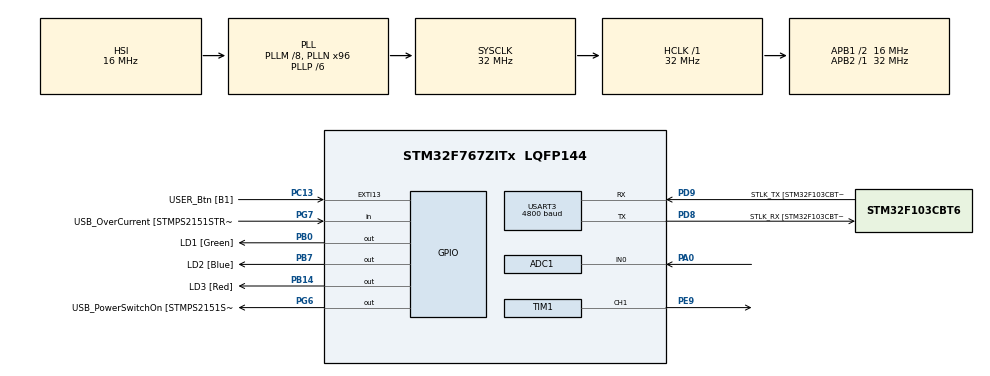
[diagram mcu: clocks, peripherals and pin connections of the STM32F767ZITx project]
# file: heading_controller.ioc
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ADC1.Channel-1\#ChannelRegularConversion=ADC_CHANNEL_0
ADC1.NbrOfConversionFlag=1
ADC1.Rank-1\#ChannelRegularConversion=1
ADC1.SamplingTime-1\#ChannelRegularConversion=ADC_SAMPLETIME_3CYCLES
ADC1.master=1
Mcu.Family=STM32F7
Mcu.Name=STM32F767ZITx
Mcu.Package=LQFP144
NVIC.PriorityGroup=NVIC_PRIORITYGROUP_4
PA0/WKUP.Signal=ADCx_IN0
PA1.GPIO_Label=RMII_REF_CLK [LAN8742A-CZ-TR_REFCLK0]
PA1.Signal=ETH_REF_CLK
PA10.GPIO_Label=USB_ID
PA10.Signal=USB_OTG_FS_ID
PA11.GPIO_Label=USB_DM
PA11.Signal=USB_OTG_FS_DM
PA12.GPIO_Label=USB_DP
PA12.Signal=USB_OTG_FS_DP
PA13.GPIO_Label=TMS
PA13.Signal=SYS_JTMS-SWDIO
PA14.GPIO_Label=TCK
PA14.Signal=SYS_JTCK-SWCLK
PA2.GPIO_Label=RMII_MDIO [LAN8742A-CZ-TR_MDIO]
PA2.Signal=ETH_MDIO
PA7.GPIO_Label=RMII_CRS_DV [LAN8742A-CZ-TR_CRS_DV]
PA7.Signal=ETH_CRS_DV
PA8.GPIO_Label=USB_SOF [TP1]
PA8.Signal=USB_OTG_FS_SOF
PA9.GPIO_Label=USB_VBUS
PA9.Signal=USB_OTG_FS_VBUS
PB0.GPIO_Label=LD1 [Green]
PB0.Signal=GPIO_Output
PB13.GPIO_Label=RMII_TXD1 [LAN8742A-CZ-TR_TXD1]
PB13.Signal=ETH_TXD1
PB14.GPIO_Label=LD3 [Red]
PB14.Signal=GPIO_Output
PB3.GPIO_Label=SW0
PB3.Signal=SYS_JTDO-SWO
PB7.GPIO_Label=LD2 [Blue]
PB7.Signal=GPIO_Output
PC1.GPIO_Label=RMII_MDC [LAN8742A-CZ-TR_MDC]
PC1.Signal=ETH_MDC
PC13.GPIO_Label=USER_Btn [B1]
PC13.Signal=GPXTI13
PC14/OSC32_IN.Signal=RCC_OSC32_IN
PC15/OSC32_OUT.Signal=RCC_OSC32_OUT
PC4.GPIO_Label=RMII_RXD0 [LAN8742A-CZ-TR_RXD0]
PC4.Signal=ETH_RXD0
PC5.GPIO_Label=RMII_RXD1 [LAN8742A-CZ-TR_RXD1]
PC5.Signal=ETH_RXD1
PD8.GPIO_Label=STLK_RX [STM32F103CBT6_PA3]
PD8.Mode=Asynchronous
PD8.Signal=USART3_TX
PD9.GPIO_Label=STLK_TX [STM32F103CBT6_PA2]
PD9.Mode=Asynchronous
PD9.Signal=USART3_RX
PE9.Signal=S_TIM1_CH1
PG11.GPIO_Label=RMII_TX_EN [LAN8742A-CZ-TR_TXEN]
PG11.Signal=ETH_TX_EN
PG13.GPIO_Label=RMII_TXD0 [LAN8742A-CZ-TR_TXD0]
PG13.Signal=ETH_TXD0
PG6.GPIO_Label=USB_PowerSwitchOn [STMPS2151STR_EN]
PG6.Signal=GPIO_Output
PG7.GPIO_Label=USB_OverCurrent [STMPS2151STR_FAULT]
PG7.Signal=GPIO_Input
PH0/OSC_IN.GPIO_Label=MCO [STM32F103CBT6_PA8]
PH0/OSC_IN.Mode=HSE-External-Oscillator
PH0/OSC_IN.Signal=RCC_OSC_IN
PH1/OSC_OUT.Mode=HSE-External-Oscillator
PH1/OSC_OUT.Signal=RCC_OSC_OUT
ProjectManager.HeapSize=0x200
ProjectManager.StackSize=0x400
ProjectManager.TargetToolchain=STM32CubeIDE
RCC.48MHZClocksFreq_Value=24000000
RCC.AHBFreq_Value=32000000
RCC.APB1CLKDivider=RCC_HCLK_DIV2
RCC.APB1Freq_Value=16000000
RCC.APB1TimFreq_Value=32000000
RCC.APB2Freq_Value=32000000
RCC.APB2TimFreq_Value=32000000
RCC.CortexFreq_Value=32000000
RCC.HCLKFreq_Value=32000000
RCC.HSE_VALUE=16000000
RCC.HSI_VALUE=16000000
RCC.LSE_VALUE=32768
RCC.PLLM=8
RCC.PLLMUL=RCC_PLL_MUL9
RCC.PLLN=96
RCC.PLLP=RCC_PLLP_DIV6
RCC.PRESCALERUSB=RCC_USBCLKSOURCE_PLL_DIV1_5
RCC.RCC_MCO2Source=RCC_MCO2SOURCE_PLLCLK
RCC.RCC_MCODiv2=RCC_MCODIV_2
RCC.SYSCLKFreq_VALUE=32000000
RCC.SYSCLKSource=RCC_SYSCLKSOURCE_PLLCLK
RCC.SYSCLKSourceVirtual=RCC_SYSCLKSOURCE_PLLCLK
RCC.USBFreq_Value=96000000
RCC.VCOOutputFreq_Value=192000000
SH.ADCx_IN0.0=ADC1_IN0,IN0
SH.S_TIM1_CH1.0=TIM1_CH1,PWM Generation1 CH1
TIM1.Channel-PWM\ Generation1\ CH1=TIM_CHANNEL_1
TIM1.Period=10000-1
TIM1.Prescaler=64-1
USART3.BaudRate=4800
USART3.VirtualMode-Asynchronous=VM_ASYNC
VP_TIM1_VS_ClockSourceINT.Mode=Internal
board=NUCLEO-F767ZI

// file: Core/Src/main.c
/* USER CODE BEGIN Header */
/**
  ******************************************************************************
  * @file           : main.c
  * @brief          : Main program body
  ******************************************************************************
  * @attention
  *
  * Copyright (c) 2025 STMicroelectronics.
  * All rights reserved.
  *
  * This software is licensed under terms that can be found in the LICENSE file
  * in the root directory of this software component.
  * If no LICENSE file comes with this software, it is provided AS-IS.
  *
  ******************************************************************************
  */
/* USER CODE END Header */
#include "main.h"

/* USER CODE BEGIN Includes */
#include <stdio.h>

/* USER CODE END Includes */

ADC_HandleTypeDef hadc1;
TIM_HandleTypeDef htim1;
UART_HandleTypeDef huart3;

/* USER CODE BEGIN PV */
uint32_t adc_value;
float dcv, duty = 0.0f;
uint8_t msg[50] = {'\0'};

/* USER CODE END PV */

void SystemClock_Config(void);
static void MX_GPIO_Init(void);
static void MX_ADC1_Init(void);
static void MX_USART3_UART_Init(void);
static void MX_TIM1_Init(void);
/* USER CODE BEGIN PFP */
float Map_ADC_DCV(uint32_t adc_value);
float Map_ADC_Duty(uint32_t adc_value, uint32_t period);

/* USER CODE END PFP */

int main(void)
{

  /* MCU Configuration--------------------------------------------------------*/

  /* Reset of all peripherals, Initializes the Flash interface and the Systick. */
  HAL_Init();

  /* Configure the system clock */
  SystemClock_Config();

  /* Initialize all configured peripherals */
  MX_GPIO_Init();
  MX_ADC1_Init();
  MX_USART3_UART_Init();
  MX_TIM1_Init();
  /* USER CODE BEGIN 2 */
  HAL_TIM_PWM_Start(&htim1, TIM_CHANNEL_1);
  TIM1->CCR1 = 0;
  /* USER CODE END 2 */

  /* Infinite loop */
  while (1)
  {

    /* USER CODE BEGIN 3 */
	  // ADC with polling
	  HAL_ADC_Start(&hadc1);
	  HAL_ADC_PollForConversion(&hadc1, 10);
	  adc_value = HAL_ADC_GetValue(&hadc1);
	  HAL_ADC_Stop(&hadc1);

	  // Converting ADC value to duty cycle to control motor heading
	  TIM1->CCR1 = Map_ADC_Duty(adc_value, htim1.Init.Period);
	  duty = ((float)TIM1->CCR1 / (float)htim1.Init.Period) * 100.0f;

	  // UART to Serial Print
	  dcv = Map_ADC_DCV(adc_value);
	  sprintf((char*)msg, "Raw: %d, V: %f, duty: %f \r\n", (int)adc_value, dcv, duty);
	  HAL_UART_Transmit(&huart3, msg, sizeof(msg), 100);
	  HAL_Delay(500);
  }
  /* USER CODE END 3 */
}

void SystemClock_Config(void)
{
  RCC_OscInitTypeDef RCC_OscInitStruct = {0};
  RCC_ClkInitTypeDef RCC_ClkInitStruct = {0};

  /** Configure the main internal regulator output voltage
  */
  __HAL_RCC_PWR_CLK_ENABLE();
  __HAL_PWR_VOLTAGESCALING_CONFIG(PWR_REGULATOR_VOLTAGE_SCALE3);

  /** Initializes the RCC Oscillators according to the specified parameters
  * in the RCC_OscInitTypeDef structure.
  */
  RCC_OscInitStruct.OscillatorType = RCC_OSCILLATORTYPE_HSI;
  RCC_OscInitStruct.HSIState = RCC_HSI_ON;
  RCC_OscInitStruct.HSICalibrationValue = RCC_HSICALIBRATION_DEFAULT;
  RCC_OscInitStruct.PLL.PLLState = RCC_PLL_ON;
  RCC_OscInitStruct.PLL.PLLSource = RCC_PLLSOURCE_HSI;
  RCC_OscInitStruct.PLL.PLLM = 8;
  RCC_OscInitStruct.PLL.PLLN = 96;
  RCC_OscInitStruct.PLL.PLLP = RCC_PLLP_DIV6;
  RCC_OscInitStruct.PLL.PLLQ = 2;
  RCC_OscInitStruct.PLL.PLLR = 2;
  if (HAL_RCC_OscConfig(&RCC_OscInitStruct) != HAL_OK)
  {
    Error_Handler();
  }

  /** Initializes the CPU, AHB and APB buses clocks
  */
  RCC_ClkInitStruct.ClockType = RCC_CLOCKTYPE_HCLK|RCC_CLOCKTYPE_SYSCLK
                              |RCC_CLOCKTYPE_PCLK1|RCC_CLOCKTYPE_PCLK2;
  RCC_ClkInitStruct.SYSCLKSource = RCC_SYSCLKSOURCE_PLLCLK;
  RCC_ClkInitStruct.AHBCLKDivider = RCC_SYSCLK_DIV1;
  RCC_ClkInitStruct.APB1CLKDivider = RCC_HCLK_DIV2;
  RCC_ClkInitStruct.APB2CLKDivider = RCC_HCLK_DIV1;

  if (HAL_RCC_ClockConfig(&RCC_ClkInitStruct, FLASH_LATENCY_1) != HAL_OK)
  {
    Error_Handler();
  }
}

static void MX_ADC1_Init(void)
{

  ADC_ChannelConfTypeDef sConfig = {0};

  /** Configure the global features of the ADC (Clock, Resolution, Data Alignment and number of conversion)
  */
  hadc1.Instance = ADC1;
  hadc1.Init.ClockPrescaler = ADC_CLOCK_SYNC_PCLK_DIV2;
  hadc1.Init.Resolution = ADC_RESOLUTION_12B;
  hadc1.Init.ScanConvMode = ADC_SCAN_DISABLE;
  hadc1.Init.ContinuousConvMode = DISABLE;
  hadc1.Init.DiscontinuousConvMode = DISABLE;
  hadc1.Init.ExternalTrigConvEdge = ADC_EXTERNALTRIGCONVEDGE_NONE;
  hadc1.Init.ExternalTrigConv = ADC_SOFTWARE_START;
  hadc1.Init.DataAlign = ADC_DATAALIGN_RIGHT;
  hadc1.Init.NbrOfConversion = 1;
  hadc1.Init.DMAContinuousRequests = DISABLE;
  hadc1.Init.EOCSelection = ADC_EOC_SINGLE_CONV;
  if (HAL_ADC_Init(&hadc1) != HAL_OK)
  {
    Error_Handler();
  }

  /** Configure for the selected ADC regular channel its corresponding rank in the sequencer and its sample time.
  */
  sConfig.Channel = ADC_CHANNEL_0;
  sConfig.Rank = ADC_REGULAR_RANK_1;
  sConfig.SamplingTime = ADC_SAMPLETIME_3CYCLES;
  if (HAL_ADC_ConfigChannel(&hadc1, &sConfig) != HAL_OK)
  {
    Error_Handler();
  }

}

static void MX_TIM1_Init(void)
{

  TIM_ClockConfigTypeDef sClockSourceConfig = {0};
  TIM_MasterConfigTypeDef sMasterConfig = {0};
  TIM_OC_InitTypeDef sConfigOC = {0};
  TIM_BreakDeadTimeConfigTypeDef sBreakDeadTimeConfig = {0};

  htim1.Instance = TIM1;
  htim1.Init.Prescaler = 64-1;
  htim1.Init.CounterMode = TIM_COUNTERMODE_UP;
  htim1.Init.Period = 10000-1;
  htim1.Init.ClockDivision = TIM_CLOCKDIVISION_DIV1;
  htim1.Init.RepetitionCounter = 0;
  htim1.Init.AutoReloadPreload = TIM_AUTORELOAD_PRELOAD_DISABLE;
  if (HAL_TIM_Base_Init(&htim1) != HAL_OK)
  {
    Error_Handler();
  }
  sClockSourceConfig.ClockSource = TIM_CLOCKSOURCE_INTERNAL;
  if (HAL_TIM_ConfigClockSource(&htim1, &sClockSourceConfig) != HAL_OK)
  {
    Error_Handler();
  }
  if (HAL_TIM_PWM_Init(&htim1) != HAL_OK)
  {
    Error_Handler();
  }
  sMasterConfig.MasterOutputTrigger = TIM_TRGO_RESET;
  sMasterConfig.MasterOutputTrigger2 = TIM_TRGO2_RESET;
  sMasterConfig.MasterSlaveMode = TIM_MASTERSLAVEMODE_DISABLE;
  if (HAL_TIMEx_MasterConfigSynchronization(&htim1, &sMasterConfig) != HAL_OK)
  {
    Error_Handler();
  }
  sConfigOC.OCMode = TIM_OCMODE_PWM1;
  sConfigOC.Pulse = 0;
  sConfigOC.OCPolarity = TIM_OCPOLARITY_HIGH;
  sConfigOC.OCNPolarity = TIM_OCNPOLARITY_HIGH;
  sConfigOC.OCFastMode = TIM_OCFAST_DISABLE;
  sConfigOC.OCIdleState = TIM_OCIDLESTATE_RESET;
  sConfigOC.OCNIdleState = TIM_OCNIDLESTATE_RESET;
  if (HAL_TIM_PWM_ConfigChannel(&htim1, &sConfigOC, TIM_CHANNEL_1) != HAL_OK)
  {
    Error_Handler();
  }
  sBreakDeadTimeConfig.OffStateRunMode = TIM_OSSR_DISABLE;
  sBreakDeadTimeConfig.OffStateIDLEMode = TIM_OSSI_DISABLE;
  sBreakDeadTimeConfig.LockLevel = TIM_LOCKLEVEL_OFF;
  sBreakDeadTimeConfig.DeadTime = 0;
  sBreakDeadTimeConfig.BreakState = TIM_BREAK_DISABLE;
  sBreakDeadTimeConfig.BreakPolarity = TIM_BREAKPOLARITY_HIGH;
  sBreakDeadTimeConfig.BreakFilter = 0;
  sBreakDeadTimeConfig.Break2State = TIM_BREAK2_DISABLE;
  sBreakDeadTimeConfig.Break2Polarity = TIM_BREAK2POLARITY_HIGH;
  sBreakDeadTimeConfig.Break2Filter = 0;
  sBreakDeadTimeConfig.AutomaticOutput = TIM_AUTOMATICOUTPUT_DISABLE;
  if (HAL_TIMEx_ConfigBreakDeadTime(&htim1, &sBreakDeadTimeConfig) != HAL_OK)
  {
    Error_Handler();
  }
  HAL_TIM_MspPostInit(&htim1);

}

static void MX_USART3_UART_Init(void)
{

  huart3.Instance = USART3;
  huart3.Init.BaudRate = 4800;
  huart3.Init.WordLength = UART_WORDLENGTH_8B;
  huart3.Init.StopBits = UART_STOPBITS_1;
  huart3.Init.Parity = UART_PARITY_NONE;
  huart3.Init.Mode = UART_MODE_TX_RX;
  huart3.Init.HwFlowCtl = UART_HWCONTROL_NONE;
  huart3.Init.OverSampling = UART_OVERSAMPLING_16;
  huart3.Init.OneBitSampling = UART_ONE_BIT_SAMPLE_DISABLE;
  huart3.AdvancedInit.AdvFeatureInit = UART_ADVFEATURE_NO_INIT;
  if (HAL_UART_Init(&huart3) != HAL_OK)
  {
    Error_Handler();
  }

}

static void MX_GPIO_Init(void)
{
  GPIO_InitTypeDef GPIO_InitStruct = {0};

  /* GPIO Ports Clock Enable */
  __HAL_RCC_GPIOC_CLK_ENABLE();
  __HAL_RCC_GPIOH_CLK_ENABLE();
  __HAL_RCC_GPIOA_CLK_ENABLE();
  __HAL_RCC_GPIOB_CLK_ENABLE();
  __HAL_RCC_GPIOE_CLK_ENABLE();
  __HAL_RCC_GPIOD_CLK_ENABLE();
  __HAL_RCC_GPIOG_CLK_ENABLE();

  /*Configure GPIO pin Output Level */
  HAL_GPIO_WritePin(GPIOB, LD1_Pin|LD3_Pin|LD2_Pin, GPIO_PIN_RESET);

  /*Configure GPIO pin Output Level */
  HAL_GPIO_WritePin(USB_PowerSwitchOn_GPIO_Port, USB_PowerSwitchOn_Pin, GPIO_PIN_RESET);

  /*Configure GPIO pin : USER_Btn_Pin */
  GPIO_InitStruct.Pin = USER_Btn_Pin;
  GPIO_InitStruct.Mode = GPIO_MODE_IT_RISING;
  GPIO_InitStruct.Pull = GPIO_NOPULL;
  HAL_GPIO_Init(USER_Btn_GPIO_Port, &GPIO_InitStruct);

  /*Configure GPIO pins : RMII_MDC_Pin RMII_RXD0_Pin RMII_RXD1_Pin */
  GPIO_InitStruct.Pin = RMII_MDC_Pin|RMII_RXD0_Pin|RMII_RXD1_Pin;
  GPIO_InitStruct.Mode = GPIO_MODE_AF_PP;
  GPIO_InitStruct.Pull = GPIO_NOPULL;
  GPIO_InitStruct.Speed = GPIO_SPEED_FREQ_VERY_HIGH;
  GPIO_InitStruct.Alternate = GPIO_AF11_ETH;
  HAL_GPIO_Init(GPIOC, &GPIO_InitStruct);

  /*Configure GPIO pins : RMII_REF_CLK_Pin RMII_MDIO_Pin RMII_CRS_DV_Pin */
  GPIO_InitStruct.Pin = RMII_REF_CLK_Pin|RMII_MDIO_Pin|RMII_CRS_DV_Pin;
  GPIO_InitStruct.Mode = GPIO_MODE_AF_PP;
  GPIO_InitStruct.Pull = GPIO_NOPULL;
  GPIO_InitStruct.Speed = GPIO_SPEED_FREQ_VERY_HIGH;
  GPIO_InitStruct.Alternate = GPIO_AF11_ETH;
  HAL_GPIO_Init(GPIOA, &GPIO_InitStruct);

  /*Configure GPIO pins : LD1_Pin LD3_Pin LD2_Pin */
  GPIO_InitStruct.Pin = LD1_Pin|LD3_Pin|LD2_Pin;
  GPIO_InitStruct.Mode = GPIO_MODE_OUTPUT_PP;
  GPIO_InitStruct.Pull = GPIO_NOPULL;
  GPIO_InitStruct.Speed = GPIO_SPEED_FREQ_LOW;
  HAL_GPIO_Init(GPIOB, &GPIO_InitStruct);

  /*Configure GPIO pin : RMII_TXD1_Pin */
  GPIO_InitStruct.Pin = RMII_TXD1_Pin;
  GPIO_InitStruct.Mode = GPIO_MODE_AF_PP;
  GPIO_InitStruct.Pull = GPIO_NOPULL;
  GPIO_InitStruct.Speed = GPIO_SPEED_FREQ_VERY_HIGH;
  GPIO_InitStruct.Alternate = GPIO_AF11_ETH;
  HAL_GPIO_Init(RMII_TXD1_GPIO_Port, &GPIO_InitStruct);

  /*Configure GPIO pin : USB_PowerSwitchOn_Pin */
  GPIO_InitStruct.Pin = USB_PowerSwitchOn_Pin;
  GPIO_InitStruct.Mode = GPIO_MODE_OUTPUT_PP;
  GPIO_InitStruct.Pull = GPIO_NOPULL;
  GPIO_InitStruct.Speed = GPIO_SPEED_FREQ_LOW;
  HAL_GPIO_Init(USB_PowerSwitchOn_GPIO_Port, &GPIO_InitStruct);

  /*Configure GPIO pin : USB_OverCurrent_Pin */
  GPIO_InitStruct.Pin = USB_OverCurrent_Pin;
  GPIO_InitStruct.Mode = GPIO_MODE_INPUT;
  GPIO_InitStruct.Pull = GPIO_NOPULL;
  HAL_GPIO_Init(USB_OverCurrent_GPIO_Port, &GPIO_InitStruct);

  /*Configure GPIO pins : USB_SOF_Pin USB_ID_Pin USB_DM_Pin USB_DP_Pin */
  GPIO_InitStruct.Pin = USB_SOF_Pin|USB_ID_Pin|USB_DM_Pin|USB_DP_Pin;
  GPIO_InitStruct.Mode = GPIO_MODE_AF_PP;
  GPIO_InitStruct.Pull = GPIO_NOPULL;
  GPIO_InitStruct.Speed = GPIO_SPEED_FREQ_VERY_HIGH;
  GPIO_InitStruct.Alternate = GPIO_AF10_OTG_FS;
  HAL_GPIO_Init(GPIOA, &GPIO_InitStruct);

  /*Configure GPIO pin : USB_VBUS_Pin */
  GPIO_InitStruct.Pin = USB_VBUS_Pin;
  GPIO_InitStruct.Mode = GPIO_MODE_INPUT;
  GPIO_InitStruct.Pull = GPIO_NOPULL;
  HAL_GPIO_Init(USB_VBUS_GPIO_Port, &GPIO_InitStruct);

  /*Configure GPIO pins : RMII_TX_EN_Pin RMII_TXD0_Pin */
  GPIO_InitStruct.Pin = RMII_TX_EN_Pin|RMII_TXD0_Pin;
  GPIO_InitStruct.Mode = GPIO_MODE_AF_PP;
  GPIO_InitStruct.Pull = GPIO_NOPULL;
  GPIO_InitStruct.Speed = GPIO_SPEED_FREQ_VERY_HIGH;
  GPIO_InitStruct.Alternate = GPIO_AF11_ETH;
  HAL_GPIO_Init(GPIOG, &GPIO_InitStruct);

}

/* USER CODE BEGIN 4 */

float Map_ADC_DCV(uint32_t adc_value){
	return (adc_value / 4095.0f) * 3.3f;
}

float Map_ADC_Duty(uint32_t adc_value, uint32_t period){
	float maxdc = 0.125f;		// Maximum and minimum duty cycles of SG 90 motors
	float mindc = 0.025f;
	float maxp = (maxdc-mindc) * period;
	return ((adc_value * (maxp / 4095.0f)) + (mindc*period));
}

/* USER CODE END 4 */

void Error_Handler(void)
{
  __disable_irq();
  while (1)
  {
  }
}
